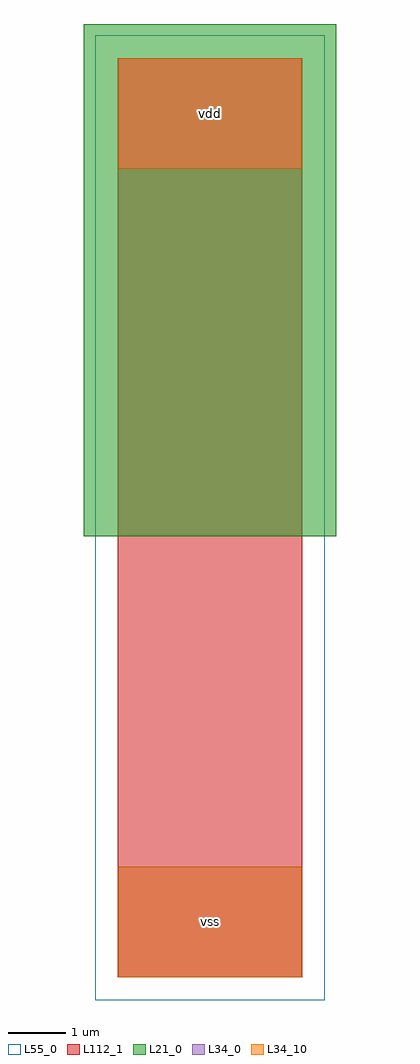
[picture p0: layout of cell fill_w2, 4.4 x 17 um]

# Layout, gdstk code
import gdstk
lib = gdstk.Library(unit=1e-6, precision=1e-09)
def R(c, l, rs):  # rectangles x0, y0, x1, y1
    for r in rs: c.add(gdstk.rectangle(r[:2], r[2:], *l))
L21_0 = (21, 0)
L34_0 = (34, 0)
L34_10 = (34, 10)
L55_0 = (55, 0)
L112_1 = (112, 1)

fill_w2 = lib.new_cell('fill_w2')
R(fill_w2, L21_0, [(-0.6,7.68,3.8,16.6)])
R(fill_w2, L34_0, [(0,0,3.2,1.92), (0,14.08,3.2,16)])
R(fill_w2, L34_10, [(0,0,3.2,1.92), (0,14.08,3.2,16)])
R(fill_w2, L55_0, [(-0.4,-0.4,3.6,16.4)])
R(fill_w2, L112_1, [(-0.005,-0.005,3.205,16.005)])
fill_w2.add(gdstk.Label('vdd', (1.6,15.04), layer=34, texttype=10))
fill_w2.add(gdstk.Label('vss', (1.6,0.96), layer=34, texttype=10))

lib.write_gds('fill_w2.gds')
